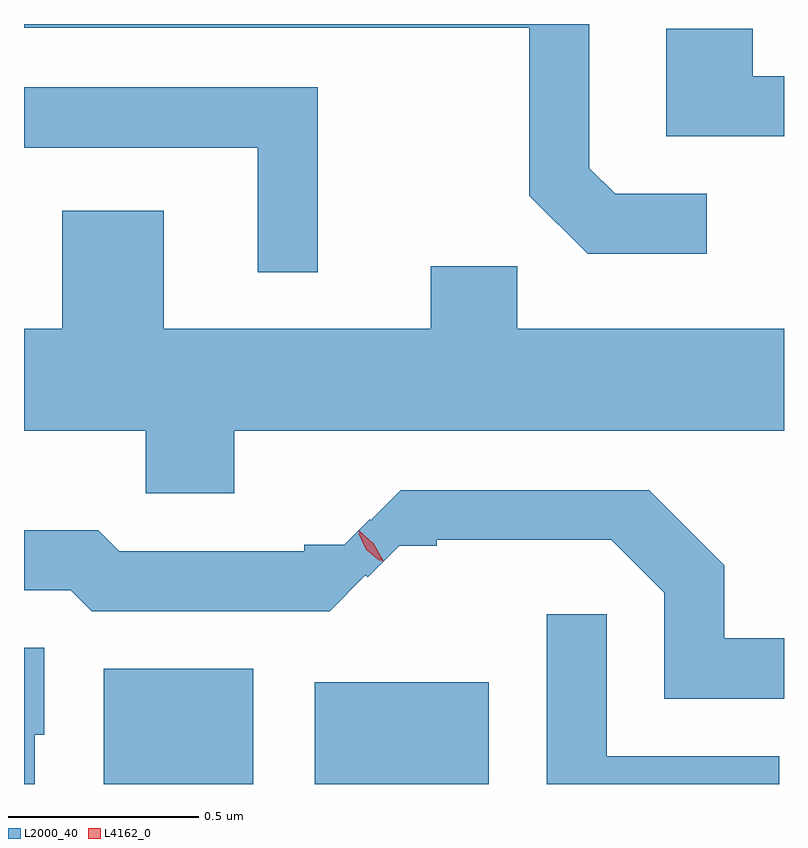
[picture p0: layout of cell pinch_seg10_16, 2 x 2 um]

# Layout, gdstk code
import gdstk
lib = gdstk.Library(unit=1e-6, precision=1e-09)
def R(c, l, rs):  # rectangles x0, y0, x1, y1
    for r in rs: c.add(gdstk.rectangle(r[:2], r[2:], *l))
def P(c, l, *ps):  # polygons
    for p in ps: c.add(gdstk.Polygon(p, *l))
L2000_40 = (2000, 40)
L4162_0 = (4162, 0)

pinch_seg10_16 = lib.new_cell('pinch_seg10_16')
R(pinch_seg10_16, L2000_40, [(827.941,2166.266,828.334,2166.569), (828.496,2166.266,828.954,2166.534)])
P(pinch_seg10_16, L2000_40, [(829.528,2167.819),(829.287,2167.819),(829.219,2167.887),(829.219,2168.266),(827.731,2168.266),(827.731,2168.256),(829.061,2168.256),(829.061,2167.814),(829.214,2167.661),(829.528,2167.661)],
  [(829.731,2168.129),(829.649,2168.129),(829.649,2168.254),(829.421,2168.254),(829.421,2167.971),(829.731,2167.971)],
  [(828.504,2168.099),(827.731,2168.099),(827.731,2167.941),(828.346,2167.941),(828.346,2167.613),(828.504,2167.613)],
  [(828.284,2167.196),(829.731,2167.196),(829.731,2167.464),(829.029,2167.464),(829.029,2167.629),(828.801,2167.629),(828.801,2167.464),(828.099,2167.464),(828.099,2167.774),(827.831,2167.774),(827.831,2167.464),(827.731,2167.464),(827.731,2167.196),(828.051,2167.196),(828.051,2167.031),(828.284,2167.031)],
  [(829.731,2166.649),(829.574,2166.649),(829.574,2166.842),(829.377,2167.039),(828.723,2167.039),(828.644,2166.96),(828.641,2166.963),(828.574,2166.895),(828.469,2166.895),(828.469,2166.879),(827.982,2166.879),(827.927,2166.934),(827.731,2166.934),(827.731,2166.776),(827.854,2166.776),(827.909,2166.721),(828.536,2166.721),(828.629,2166.815),(828.635,2166.81),(828.718,2166.893),(828.817,2166.893),(828.817,2166.909),(829.276,2166.909),(829.416,2166.769),(829.416,2166.491),(829.731,2166.491)],
  [(829.719,2166.339),(829.264,2166.339),(829.264,2166.713),(829.106,2166.713),(829.106,2166.266),(829.719,2166.266)],
  [(827.759,2166.396),(827.784,2166.396),(827.784,2166.624),(827.731,2166.624),(827.731,2166.266),(827.759,2166.266)])
P(pinch_seg10_16, L4162_0, [(828.667,2166.853),(828.632,2166.882),(828.612,2166.924),(828.612,2166.924),(828.613,2166.924),(828.648,2166.895),(828.668,2166.854),(828.668,2166.853)],
  [(828.675,2166.852),(828.636,2166.885),(828.612,2166.931),(828.612,2166.932),(828.613,2166.932),(828.652,2166.898),(828.676,2166.853),(828.676,2166.852)])

lib.write_gds('pinch_seg10_16.gds')
